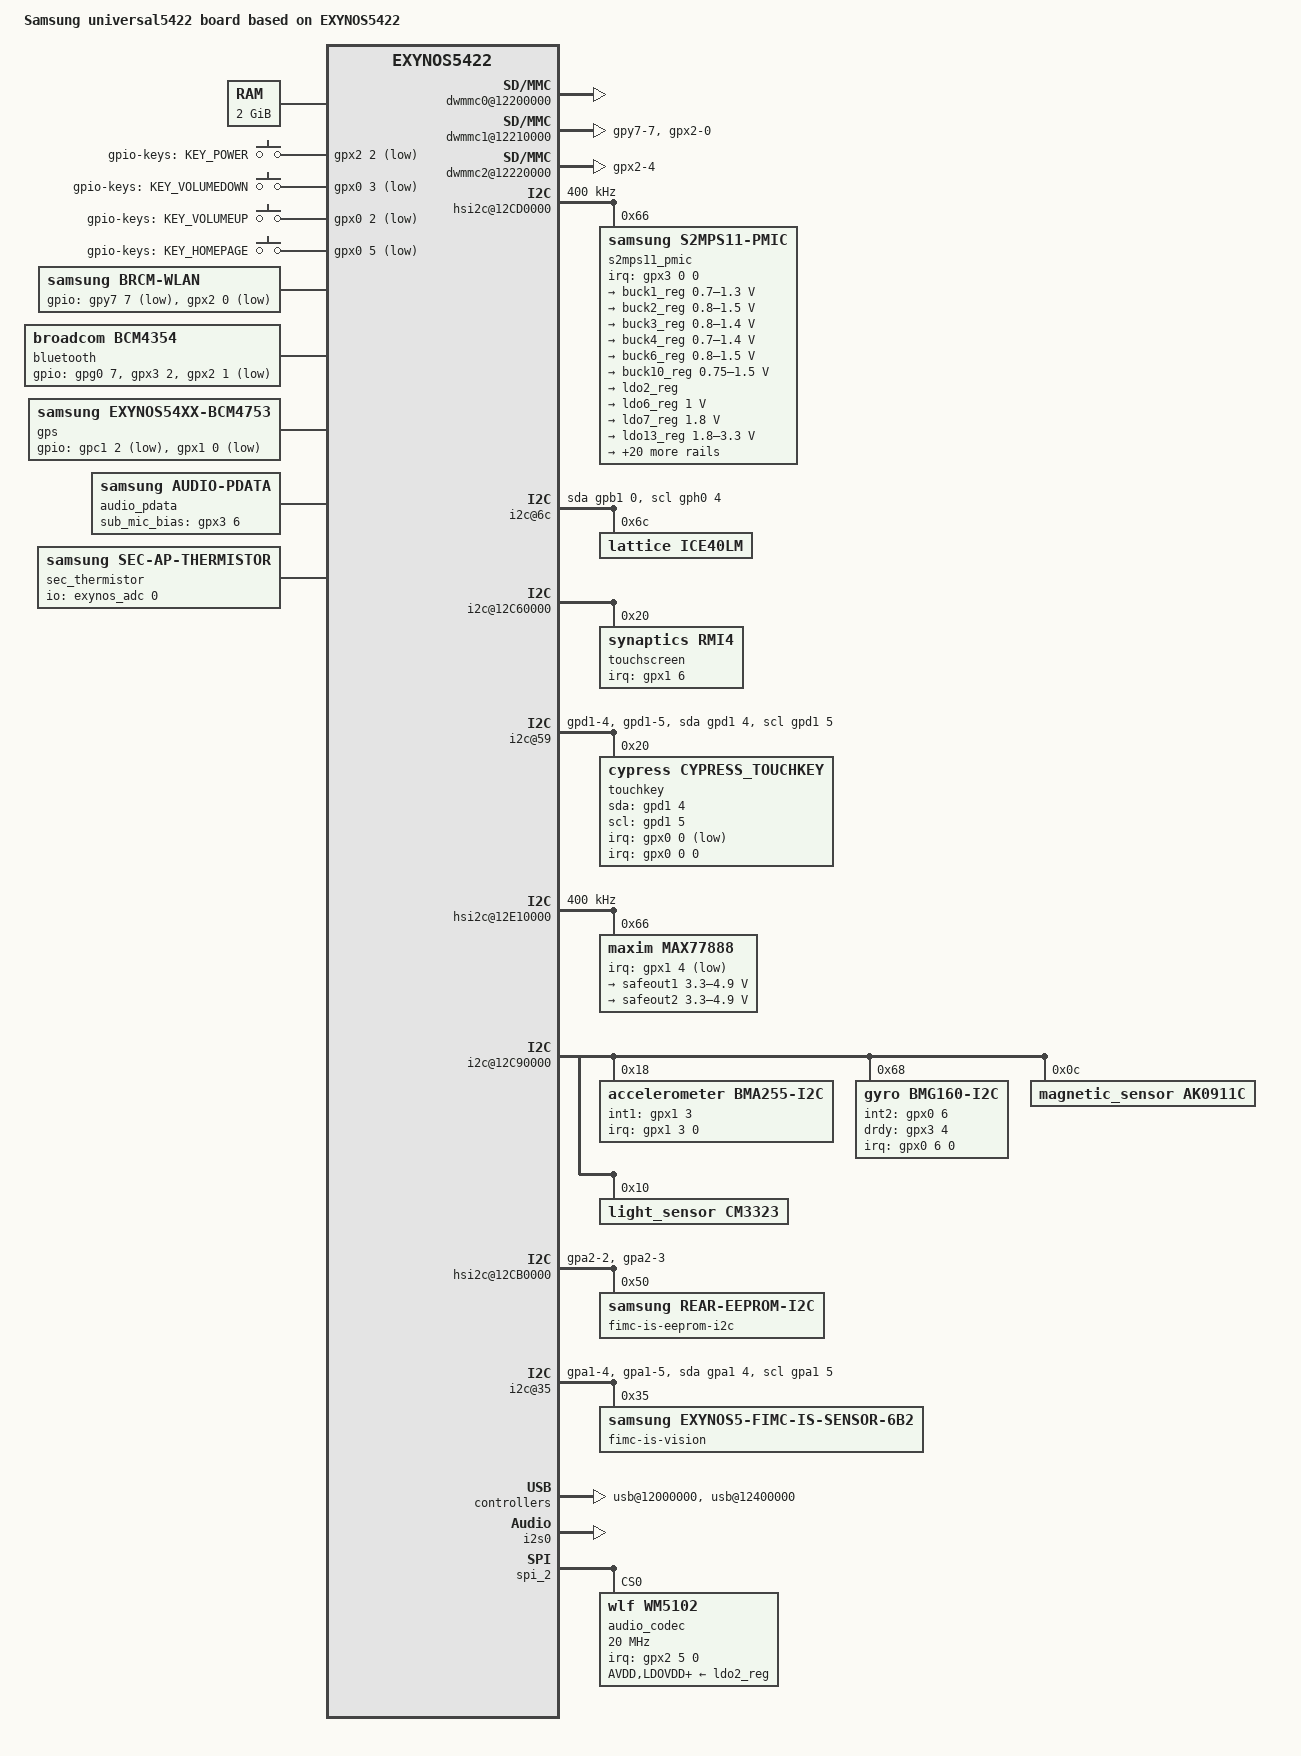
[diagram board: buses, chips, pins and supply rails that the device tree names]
/*
 * SAMSUNG universal5422 board device tree source
 *
 * Copyright (c) 2013 Samsung Electronics Co., Ltd.
 *             http://www.samsung.com
 *
 * This program is free software; you can redistribute it and/or modify
 * it under the terms of the GNU General Public License version 2 as
 * published by the Free Software Foundation.
*/

#include "exynos5422_evt0.dtsi"
#include "exynos5422-k_mhl2x.dtsi"
#include "exynos5422-klimtve_gpio.dtsi"

/ {
	model = "Samsung universal5422 board based on EXYNOS5422";
	compatible = "samsung,universal5422", "samsung,exynos5422";

	memory {
		reg = <0x40000000 0x80000000>;
	};

	chosen {
		bootargs = "console=ttySAC2,115200 vmalloc=512M clk_ignore_unused";
	};

	fixed-rate-clocks {
		oscclk {
			compatible = "samsung,exynos5422-oscclk";
			clock-frequency = <24000000>;
		};
	};

	rtc {
		status = "okay";
	};

/*
	======================================
	MMC
	======================================
*/
	dwmmc0@12200000 {
		status = "okay";
		num-slots = <1>;
		broken-cd;
		bypass-smu;
		fixed_volt;
		clock-gate;
		enable-cclk-on-suspend;
		only_once_tune;
		extra_tuning;
		supports-highspeed;
		supports-hs200-1-8v-mode;
		supports-ddr200-1-8v-mode;
		error-retry;
		enable-cache-control;
		supports-poweroff-notification;
		use-fine-tuning;
		supports-ddr200-enhanced-strobe;
		sw_data_timeout;
		fifo-depth = <0x40>;
		card-detect-delay = <200>;
		qos_int_level = <222000>;
		samsung,dw-mshc-ciu-div = <3>;
		samsung,dw-mshc-sdr-timing = <3 0 4 0>;
		samsung,dw-mshc-ddr-timing = <3 0 2 0>;
		samsung,dw-mshc-hs200-timing = <3 0 2 0>;
		samsung,dw-mshc-ddr200-timing = <1 1 2 0>;
		clk_pin = "gpc0-0";
		clk_addr = "13410000.pinctrl";
		clk_val = <0x3>;
		clk_str_num = <4>;
		num-ref-clks = <8>;
		ciu_clkin = <20812500 41625000 41625000 83250000 166500000 83250000 166500000 333000000>;
		pinctrl-names = "default";
		pinctrl-0 = <&sd0_clk &sd0_cmd &sd0_rdqs &sd0_bus1 &sd0_bus4 &sd0_bus8>;

		slot@0 {
			reg = <0>;
			bus-width = <8>;
		};
	};

	dwmmc1@12210000 {
		status = "okay";
		num-slots = <1>;
		channel = <1>;
		bypass-smu;
		clock-gate;
		caps-control;
		use-fine-tuning;
		ignore-phase = <(1 << 7)>;
		sw-timeout = <1000>;
		enable-cclk-on-suspend;
		fixed_volt;
		supports-highspeed;
		sw_data_timeout;
		supports-sdr104-mode;
		keep-power-in-suspend;
		pm-ignore-notify;
		cd-type-external;
		cd-type = <2>;
		use-broken-voltage;
		fifo-depth = <0x40>;
		card-detect-delay = <200>;
		qos_int_level = <222000>;
		samsung,dw-mshc-ciu-div = <3>;
		samsung,dw-mshc-sdr-timing = <3 0 2 0>;
		samsung,dw-mshc-ddr-timing = <3 0 2 0>;
		clk_pin = "gpc1-0";
		clk_addr = "13410000.pinctrl";
		clk_val = <0x3>;
		clk_str_num = <4>;
		num-ref-clks = <8>;
		ciu_clkin = <25000000 50000000 50000000 100000000 200000000 100000000 200000000 400000000>;
		tp_mon_depth = <3>;
			     /* Byte/s,	 MIF clk, CPU clk, KFC clk*/
		tp_mon_table = <18000000 825000	2000000 1500000
				12000000 413000	0	0
				0	 0	0	0>;
		pinctrl-names = "default";
		//pinctrl-0 = <&sd1_clk &sd1_cmd &sd1_bus1 &sd1_bus4>;
		pinctrl-0 = <&sd1_clk &sd1_cmd &sd1_bus1 &sd1_bus4 &cfg_wlanen &cfg_wlanhostwake>; /* Set WLAN_EN configuration of power down mode */

		slot@0 {
			reg = <0>;
			bus-width = <4>;
		};
	};

	dwmmc2@12220000 {
		status = "okay";
		num-slots = <1>;
		supports-highspeed;
		clock-gate;
		enable-cclk-on-suspend;
		sw_data_timeout;
                use-cpu-mode-tuning;
		use-fine-tuning;
		ignore-phase = <(1 << 7)>;
		fifo-depth = <0x40>;
		card-detect-delay = <200>;
		qos_int_level = <222000>;
		samsung,dw-mshc-ciu-div = <3>;
		samsung,dw-mshc-sdr-timing = <3 0 4 0>;
		samsung,dw-mshc-ddr-timing = <3 0 2 0>;
		clk_pin = "gpc2-0";
		clk_addr = "13410000.pinctrl";
		clk_val = <0x1>;
		clk_str_num = <4>;
		num-ref-clks = <8>;
		ciu_clkin = <20812500 41625000 41625000 83250000 166500000 83250000 166500000 333000000>;
		pinctrl-names = "default", "output";
		pinctrl-0 = <&sd2_clk &sd2_cmd &sd2_bus1 &sd2_bus4 &dwmmc2_cd_irq>;
		pinctrl-1 = <&sd2_clk_output &sd2_cmd_output &sd2_bus1 &sd2_bus4 &dwmmc2_cd_irq>;

		gpio-controller;
		#gpio-cells = <2>;
		cd-gpio = <&gpx2 4 0xf>;

		slot@0 {
			reg = <0>;
			bus-width = <4>;
			disable-wp;
		};
	};

	dwmmc2@12220000 {
		vmmc-en-gpio = <&gpy2 0 0x1>;	/* TF_EN -> LDO19 */
		vqmmc-en-gpio = <&gpy3 1 0x1>;	/* MMC2_EN -> LDO13 */
	};

/*
	samsung,pins = "gpa0-0";

	samsung,pin-function = <2>;
	0 : input, 1 : output 2 : special_function

	samsung,pin-pud = <0>;
	0 : reserved 1 : pull down 2 : reserved 3 : pull up

	samsung,pin-con-pdn = <2>;
	0 : output0 1 : output1 2: input 3: previous state

	samsung,pin-pud-pdn = <0>;
	0 : pull up/down disable 1 : pull down 2 : reserved 3 : pull up
*/

/*
	======================================
	UART
	======================================
	UART0 : BT
	UART1 : GPS
	UART2 : Serial
*/
	pinctrl@14010000 {
		uart0_rts: uart0-rts {
			samsung,pins = "gpa0-3";
			samsung,pin-function = <2>;
			samsung,pin-pud = <3>;
			samsung,pin-con-pdn = <1>;
			samsung,pin-pud-pdn = <3>;
		};

		uart0_cts: uart0-cts {
			samsung,pins = "gpa0-2";
			samsung,pin-function = <2>;
			samsung,pin-pud = <3>;
			samsung,pin-con-pdn = <2>;
			samsung,pin-pud-pdn = <3>;
		};

		uart0_tx: uart0-tx {
			samsung,pins = "gpa0-1";
			samsung,pin-function = <2>;
			samsung,pin-pud = <3>;
			samsung,pin-con-pdn = <1>;
			samsung,pin-pud-pdn = <3>;
		};

		uart0_rx: uart0-rx {
			samsung,pins = "gpa0-0";
			samsung,pin-function = <2>;
			samsung,pin-pud = <3>;
			samsung,pin-con-pdn = <2>;
			samsung,pin-pud-pdn = <3>;
		};
	};

	serial@12C00000 {
		pinctrl-0 = <&uart0_rts &uart0_cts &uart0_tx &uart0_rx>;
	};

	pinctrl@14010000 {
		uart1_rts: uart1-rts {
			samsung,pins = "gpa0-7";
			samsung,pin-function = <2>;
			samsung,pin-pud = <0>;
			samsung,pin-con-pdn = <1>;
			samsung,pin-pud-pdn = <0>;
		};

		uart1_cts: uart1-cts {
			samsung,pins = "gpa0-6";
			samsung,pin-function = <2>;
			samsung,pin-pud = <0>;
			samsung,pin-con-pdn = <2>;
			samsung,pin-pud-pdn = <1>;
		};

		uart1_tx: uart1-tx {
			samsung,pins = "gpa0-5";
			samsung,pin-function = <2>;
			samsung,pin-pud = <0>;
			samsung,pin-con-pdn = <2>;
			samsung,pin-pud-pdn = <3>;
		};

		uart1_rx: uart1-rx {
			samsung,pins = "gpa0-4";
			samsung,pin-function = <2>;
			samsung,pin-pud = <3>;
			samsung,pin-con-pdn = <2>;
			samsung,pin-pud-pdn = <3>;
		};

		nfc_cfg: nfc-cfg {
	            samsung,pins = "gph0-6";
	            samsung,pin-function = <2>;
		};
	};

	serial@12C10000 {
		pinctrl-0 = <&uart1_rts &uart1_cts &uart1_tx &uart1_rx>;
	};

/*
	======================================
	EINT GPIOs
	======================================
	GPX0-0 : TOUCH_INT
	GPX0-1 : HALL_SENSOR_INT
	GPX0-2 : VOL_UP
	GPX0-3 : VOL_DOWN
	GPX0-4 : GRIP_DET_AP
	GPX0-5 : HOME_BTN
	GPX0-6 : ACC_INT2
	GPX0-7 : BTP_IRQ

	GPX1-0 : GPS_INT
	GPX1-1 : IF_CON_SENSE_18
	GPX1-2 : NC
	GPX1-3 : ACC_INT1
	GPX1-4 : IF_PMIC_IRQ
	GPX1-5 : FUEL_ALERT
	GPX1-6 : TSP_ATTN
	GPX1-7 : MUIC_RST_INT

	GPX2-0 : WLAN_HOST_WAKE
	GPX2-1 : BT_HOST_WAKE
	GPX2-2 : nPower
	GPX2-3 : COND_DET_AP
	GPX2-4 : T-FLASH_DET
	GPX2-5 : CODEC_IRQ
	GPX2-6 : NC
	GPX2-7 : NC

	GPX3-0 : AP_PMIC_IRQ
	GPX3-1 : NC
	GPX3-2 : BT_WAKE
	GPX3-3 : NC
	GPX3-4 : GYRO_DRDY
	GPX3-5 : PS_ALS_INT
	GPX3-6 : SUB_MICBIAS_EN
	GPX3-7 : HDMI_HPD
*/
	pinctrl@13400000 {
		pmic_irq: pmic-irq {
			samsung,pins = "gpx3-0";
			samsung,pin-pud = <3>;
			samsung,pin-drv = <3>;
		};

		hall_irq: hall-irq {
			samsung,pins = "gpx0-1";
			samsung,pin-function = <0xf>;
			samsung,pin-pud = <3>;
			samsung,pin-drv = <0>;
		};
		acc_irq2: acc-irq2 {
			samsung,pins = "gpx0-6";
			samsung,pin-function = <0>;
			samsung,pin-pud = <0>;
			samsung,pin-drv = <0>;
		};
		mfd_irq: mfd-irq {
			samsung,pins = "gpx1-4";
			samsung,pin-function = <0>;
			samsung,pin-pud = <0>;
			samsung,pin-drv = <0>;
		};

		if_con_sense_irq: if_con_sense_irq {
			samsung,pins = "gpx1-1";
			samsung,pin-function = <0>;
			samsung,pin-pud = <0>;
			samsung,pin-drv = <0>;
		};
		acc_irq1: acc-irq1 {
			samsung,pins = "gpx1-3";
			samsung,pin-function = <0xf>;
			samsung,pin-pud = <0>;
			samsung,pin-drv = <0>;
		};
		muic_reset_irq: muic_reset_irq {
			samsung,pins = "gpx1-7";
			samsung,pin-function = <0>;
			samsung,pin-pud = <0>;
			samsung,pin-drv = <0>;
		};

		fuel_irq: fuel-irq {
			samsung,pins = "gpx1-5";
			samsung,pin-function = <0>;
			samsung,pin-pud = <0>;
			samsung,pin-drv = <0>;
		};

		dwmmc2_cd_irq: dwmmc2-cd-irq {
			samsung,pins = "gpx2-4";
			samsung,pin-function = <0xf>;
			samsung,pin-pud = <3>;
			samsung,pin-drv = <3>;
		};

		gyro_drdy: gyro-drdy {
			samsung,pins = "gpx3-4";
			samsung,pin-function = <0>;
			samsung,pin-pud = <0>;
			samsung,pin-drv = <0>;
		};
	};

/*
	======================================
	PMIC
	======================================
*/
	pinctrl@13410000 {
		pm_wrsti: pm-wrsti {
			samsung,pins = "gpy3-0";
			samsung,pin-con-pdn = <3>;
		};
	};

	hsi2c@12CD0000 {
		clock-frequency = <400000>;
		status = "okay";

		s2mps11_pmic@66 {
			compatible = "samsung,s2mps11-pmic";
			reg = <0x66>;
			interrupts = <0 0 0>;
			interrupt-parent = <&gpx3>;
			pinctrl-names = "default";
			pinctrl-0 = <&pmic_irq &pm_wrsti>;
			/* RTC: wtsr/smpl */
			wtsr_en = <1>; /* enable */
			smpl_en = <1>; /* enable */
			wtsr_timer_val = <3>;	/* 1000ms */
			smpl_timer_val = <0>;	/* 500ms */
			check_jigon = <1>; /* check jigon */
			/* RTC: If it's first boot, reset rtc to 1/1/2014 12:00:00(Wed) */
			init_time,sec = <0>;
			init_time,min = <0>;
			init_time,hour = <12>;
			init_time,mday = <1>;
			init_time,mon = <0>;
			init_time,year = <114>;
			init_time,wday = <3>;

			regulators {
				buck1_reg: BUCK1 {
					regulator-name = "vdd_mif";
					regulator-min-microvolt = <700000>;
					regulator-max-microvolt = <1300000>;
					regulator-always-on;
					regulator-boot-on;
					regulator-ramp-delay = <12000>;
					regulator-initial-mode = <1>;
				};

				buck2_reg: BUCK2 {
					regulator-name = "vdd_eagle";
					regulator-min-microvolt = <800000>;
					regulator-max-microvolt = <1500000>;
					regulator-always-on;
					regulator-boot-on;
					regulator-ramp-delay = <12000>;
					regulator-initial-mode = <1>;
				};

				buck3_reg: BUCK3 {
					regulator-name = "vdd_int";
					regulator-min-microvolt = <800000>;
					regulator-max-microvolt = <1400000>;
					regulator-always-on;
					regulator-boot-on;
					regulator-ramp-delay = <12000>;
					regulator-initial-mode = <1>;
				};

				buck4_reg: BUCK4 {
					regulator-name = "vdd_g3d";
					regulator-min-microvolt = <700000>;
					regulator-max-microvolt = <1400000>;
					regulator-always-on;
					regulator-boot-on;
					regulator-ramp-delay = <12000>;
					regulator-initial-mode = <1>;
				};

				buck6_reg: BUCK6 {
					regulator-name = "vdd_kfc";
					regulator-min-microvolt = <800000>;
					regulator-max-microvolt = <1500000>;
					regulator-always-on;
					regulator-boot-on;
					regulator-ramp-delay = <12000>;
					regulator-initial-mode = <1>;
				};

				buck10_reg: BUCK10 {
					regulator-name = "vdd_cam_isp_1.0v";
					regulator-min-microvolt = <750000>;
					regulator-max-microvolt = <1500000>;
					regulator-always-on;
					regulator-boot-on;
					regulator-ramp-delay = <12000>;
					regulator-initial-mode = <1>;
				};

				ldo2_reg: LDO2 {
					regulator-name = "vcc_1.8v_codec";
				};

				ldo6_reg: LDO6 {
					regulator-name = "vdd_ldo6";
					regulator-min-microvolt = <1000000>;
					regulator-max-microvolt = <1000000>;
					regulator-always-on;
					regulator-initial-mode = <1>;
				};

				ldo7_reg: LDO7 {
					regulator-name = "vdd_ldo7";
					regulator-min-microvolt = <1800000>;
					regulator-max-microvolt = <1800000>;
					regulator-always-on;
					regulator-initial-mode = <1>;
				};

				ldo13_reg: LDO13 {
					regulator-name = "vqmmc";
					regulator-min-microvolt = <1800000>;
					regulator-max-microvolt = <3300000>;
					regulator-boot-on;
					regulator-ramp-delay = <12000>;
					regulator-initial-mode = <1>;
				};

				ldo14_reg: LDO14 {
					regulator-name = "vcc_3.0v_motor";
					regulator-min-microvolt = <3000000>;
					regulator-max-microvolt = <3000000>;
					regulator-initial-mode = <3>;
				};

				ldo17_reg: LDO17 {
					regulator-name = "vci_ldo17";
					regulator-min-microvolt = <3000000>;
					regulator-max-microvolt = <3000000>;
					regulator-initial-mode = <3>;
				};

				ldo19_reg: LDO19 {
					regulator-name = "vmmc";
					regulator-min-microvolt = <1800000>;
					regulator-max-microvolt = <2850000>;
					regulator-boot-on;
					regulator-initial-mode = <1>;
				};

				ldo20_reg: LDO20 {
					regulator-name = "VT_CAM_1.8V";
					regulator-min-microvolt = <1800000>;
					regulator-max-microvolt = <1800000>;
				};

				ldo21_reg: LDO21 {
					regulator-name = "CAM_IO_1.8V_AP";
					regulator-min-microvolt = <1800000>;
					regulator-max-microvolt = <1800000>;
				};

				ldo22_reg: LDO22 {
					regulator-name = "CAM_SEN_CORE_1.2V_AP";
					regulator-min-microvolt = <1100000>;
					regulator-max-microvolt = <1100000>;
				};

				ldo23_reg: LDO23 {
					regulator-name = "vdd_mifs";
					regulator-min-microvolt = <800000>;
					regulator-max-microvolt = <1100000>;
					regulator-always-on;
					regulator-initial-mode = <1>;
					regulator-ramp-delay = <12000>;
				};

				ldo24_reg: LDO24 {
					regulator-name = "tsp_avdd";
					regulator-min-microvolt = <3300000>;
					regulator-max-microvolt = <3300000>;
				};

				ldo25_reg: LDO25 {
					regulator-name = "vdd_ldo25";
					regulator-min-microvolt = <1800000>;
					regulator-max-microvolt = <1800000>;
					regulator-boot-on;
					regulator-initial-mode = <3>;
				};

				ldo26_reg: LDO26 {
					regulator-name = "CAM_AF_2.8V_AP";
					regulator-min-microvolt = <2800000>;
					regulator-max-microvolt = <2800000>;
				};

				ldo27_reg: LDO27 {
					regulator-name = "vdd_g3ds";
					regulator-min-microvolt = <800000>;
					regulator-max-microvolt = <1100000>;
					regulator-always-on;
					regulator-initial-mode = <1>;
					regulator-ramp-delay = <12000>;
				};

				ldo28_reg: LDO28 {
					regulator-name = "vdd3_ldo28";
					regulator-min-microvolt = <1800000>;
					regulator-max-microvolt = <1800000>;
					regulator-boot-on;
					regulator-initial-mode = <3>;
				};

				ldo29_reg: LDO29 {
					regulator-name = "vddr_ldo29";
					regulator-min-microvolt = <1600000>;
					regulator-max-microvolt = <1600000>;
				};

				ldo30_reg: LDO30 {
					regulator-name = "vtouch_1.8v";
					regulator-min-microvolt = <1800000>;
					regulator-max-microvolt = <1800000>;
				};

				ldo31_reg: LDO31 {
					regulator-name = "vdd_ldo30";
					regulator-min-microvolt = <1800000>;
					regulator-max-microvolt = <1800000>;
				};

				ldo32_reg: LDO32 {
					regulator-name = "tsp_io";
					regulator-min-microvolt = <1800000>;
					regulator-max-microvolt = <1800000>;
				};

				ldo33_reg: LDO33 {
					regulator-name = "VCC_1.8V_MHL";
					regulator-min-microvolt = <1800000>;
					regulator-max-microvolt = <1800000>;
				};

				ldo34_reg: LDO34 {
					regulator-name = "VCC_3.3V_MHL";
					regulator-min-microvolt = <3300000>;
					regulator-max-microvolt = <3300000>;
				};

				ldo35_reg: LDO35 {
					regulator-name = "VSIL_1.2A";
					regulator-min-microvolt = <1200000>;
					regulator-max-microvolt = <1200000>;
				};

				ldo38_reg: LDO38 {
					regulator-name = "vtouch_3.3v";
					regulator-min-microvolt = <3300000>;
					regulator-max-microvolt = <3300000>;
				};
			};
		};
	};

/*
	======================================
	IRDA
	======================================
*/
	pinctrl@13400000 {
		irda_irq: irda-irq {
			samsung,pins = "gpy7-1";
			samsung,pin-function = <0>;
			samsung,pin-pud = <0>;
			samsung,pin-drv = <0>;
		};
	};

	i2c@6c {
		compatible = "i2c-gpio";
		gpios = <&gpb1 0 0 /* sda */
			&gph0 4 0 /* scl */
			>;
		i2c-gpio,delay-us = <2>;
		#address-cells = <1>;
		#size-cells = <0>;
		status = "okay";
		ice40lm@6c {
			compatible = "lattice,ice40lm";
			reg = <0x6c>;
			ice40lm,creset_b = <&gpj4 2 0>;
			ice40lm,cdone = <&gpg0 2 0>;
			ice40lm,irda_irq = <&gpy7 1 0>;
			ice40lm,spi_si_sda = <&gpb1 0 0>;
			ice40lm,spi_clk_scl = <&gph0 4 0>;
			ice40lm,spi_en_rstn = <&gph0 6 0>;
			ice40lm,power = "LDO";
			ice40lm,ir_en = <&gph0 6 0>;
			clocks = <&clock 4200>;
			clock-names = "clk_out";
		};
	};

/*
	======================================
	Touch & Touch key
	======================================
*/
	pinctrl@13400000 {
		attn_irq: attn-irq {
			samsung,pins = "gpx1-6";
			samsung,pin-function = <0xf>;
			samsung,pin-pud = <0>;
			samsung,pin-drv = <0>;
		};

		attn_input: attn-input {
			samsung,pins = "gpx1-6";
			samsung,pin-function = <0>;
			samsung,pin-pud = <0>;
			samsung,pin-drv = <0>;
		};
	};

	pinctrl@14000000 {
		tsp_rst: tsp_rst {
			samsung,pins = "gpg1-1";
			samsung,pin-function = <1>;
			samsung,pin-pud = <0>;
			samsung,pin-drv = <0>;
		};
	};

	pinctrl@14010000 {
		i2c0_bus: i2c0-bus {
			samsung,pins = "gpb3-1", "gpb3-0";
			samsung,pin-function = <2>;
			samsung,pin-pud = <0>;
			samsung,pin-drv = <0>;
		};
	};

	i2c@12C60000 {
		samsung,i2c-sda-delay = <100>;
		samsung,i2c-max-bus-freq = <400000>;
		status = "okay";
		touchscreen@20 {
			compatible = "synaptics,rmi4";
			reg = <0x20>;
			pinctrl-names = "on_state", "off_state";
			pinctrl-0 = <&attn_irq &tsp_rst>;
			pinctrl-1 = <&attn_input &tsp_rst>;
			synaptics,irq_gpio = <&gpx1 6 0>;
			synaptics,tsp_rst = <&gpg1 1 0>;
			synaptics,irq_type = <8200>;
			synaptics,max_coords = <1599 2559>;	/* x y */
			synaptics,num_lines = <45 28>;		/* rx tx */
			synaptics,regulator_dvdd = "tsp_io";	/* 1.8v */
			synaptics,regulator_avdd = "tsp_avdd";	/* 3.3v */
			synaptics,project_name = "KLIMT VE","T703";
			synaptics,panel_revision = <1>;
			synaptics,firmware_name = "tsp_synaptics/synaptics_s5707_klimtve.fw";
		};
	};

	pinctrl@13410000 {
		/* touchkey s/w i2c */
		cfg_i2c: cfg-i2c {
			samsung,pins = "gpd1-4", "gpd1-5";
			samsung,pin-pud = <0>;
			samsung,pin-drv = <0>;
		};
		cfg_gpio: cfg_gpio {
			samsung,pins = "gpd1-4", "gpd1-5";
			samsung,pin-con-pdn = <2>;
			samsung,pin-pud-pdn = <1>;
		};
	};

	pinctrl@13400000 {
		/* touchkey interrupt*/
		cfg_irq: cfg-irq {
			samsung,pins = "gpx0-0";
			samsung,pin-function = <0xf>;
			samsung,pin-pud = <3>;
			samsung,pin-drv = <0>;
		};
		cfg_input: cfg-input {
			samsung,pins = "gpx0-0";
			samsung,pin-function = <0>;
			samsung,pin-pud = <1>;
			samsung,pin-drv = <0>;
		};
	};

	i2c@59 {
		cell-index = <59>;
		compatible = "i2c-gpio";
		gpios = <&gpd1 4 0 /* sda */
					&gpd1 5 0 /* scl */
					>;
		i2c-gpio,delay-us = <2>;
		pinctrl-names = "default","on_i2c","off_i2c";
		pinctrl-0 = <&cfg_i2c>;
		pinctrl-1 = <&cfg_i2c>;
		pinctrl-2 = <&cfg_gpio>;
		#address-cells = <1>;
		#size-cells = <0>;
		touchkey@20 {
			pinctrl-names = "on_irq","off_irq";
			pinctrl-0 = <&cfg_irq>;
			pinctrl-1 = <&cfg_input>;
			compatible = "cypress,cypress_touchkey";
			reg = <0x20>;
			interrupts = <0 0 0>;
			interrupt-parent = <&gpx0>;
			cypress,sda-gpio = <&gpd1 4 0>;
			cypress,scl-gpio = <&gpd1 5 0>;
			cypress,irq-gpio = <&gpx0 0 1>;
			cypress,ic_type = <20055>;
			cypress,fw_path = "cypress/cypress_klimt.fw";
			cypress,boot_on_ldo;
			cypress,led_by_ldo;
			cypress,glove_mode_keep_status;
			cypress,fw_crc_check = <0>;
		};
	};

	input_booster {
		status = "okay";
		compatible = "input_booster";
		#address-cells = <1>;
		#size-cells = <0>;

		booster_key@1 {
			input_booster,label = "TOUCH";
			input_booster,type = <0>;	/* BOOSTER_DEVICE_TOUCH */

			input_booster,levels = <1 2 3 4 5 9 10>;

			/* Frequency table */
			/* for level	:		1_Head, 2_Tail, 3_Head, 4_Head/Tail, 5_Head, 9_Head, 9_Tail */
			input_booster,cpu_freqs = <1600000 0 0 0 1200000 1900000 1600000>;
			input_booster,hmp_boost = <1 0 0 0 1 1 1>;
			input_booster,kfc_freqs = <1000000 1200000 1300000 1300000 800000 1300000 1300000>;
			input_booster,mif_freqs = <633000 413000 413000 633000 633000 825000 825000>;
			input_booster,int_freqs = <333000 110000 111000 111000 333000 400000 400000>;

			/* Time table */
			input_booster,head_times = <130 130 130 130 100 500 0>;
			input_booster,tail_times = <500 500 500 200 500 1000 0>;
			input_booster,phase_times = <0 0 0 0 40 0 0>;
		};
		/* If you need to add new key type, add it this position */
	};

	pinctrl@14010000 {
		i2c3_bus: i2c3-bus {
			samsung,pin-pud = <0>;
		};

		vibetonz_pwm: vibetonz_pwm {
			samsung,pins = "gpb2-1";
			samsung,pin-function = <2>;
			samsung,pin-pud = <0>;
			samsung,pin-drv = <0>;
		};

		hs_i2c3_bus: hs-i2c3-bus {	/* AP PMIC I2C */
				samsung,pins = "gpb2-3", "gpb2-2";
				samsung,pin-function = <3>;
				samsung,pin-pud = <0>;
				samsung,pin-drv = <0>;
		};

		hs_i2c5_bus: hs-i2c5-bus {	/* IF PMIC I2C */
			samsung,pins = "gpb3-7", "gpb3-6";
			samsung,pin-function = <2>;
			samsung,pin-pud = <0>;
			samsung,pin-drv = <0>;
		};
	};
/*
	======================================
	IF PMIC
	======================================
*/
	hsi2c@12E10000 {
		samsung,hs-mode;
		clock-frequency = <400000>;
		status = "okay";

		max77888@66 {
                        compatible = "maxim,max77888";
                        reg = <0x66>;
                        pinctrl-names = "default";
                        pinctrl-0 = <&mfd_irq &if_con_sense_irq &fuel_irq &vibetonz_pwm &muic_reset_irq>;
                        max77888,irq-gpio = <&gpx1 4 1>;
                        max77888,muic-reset-int = <&gpx1 7 1>;
                        max77888,irqf-trigger = <0x00002008>; /* IRQF_ONESHOT | IRQF_TRIGGER_LOW */
                        max77888,wakeup;
                        status = "okay";

                        regulators {
                                safeout1: ESAFEOUT1 {
                                        regulator-compatible = "safeout1";
                                        regulator-name = "safeout1_range";
                                        regulator-min-microvolt = <3300000>;
                                        regulator-max-microvolt = <4900000>;
                                        regulator-boot-on;
                                };

                                safeout2: ESAFEOUT2 {
                                        regulator-compatible = "safeout2";
                                        regulator-name = "safeout2_range";
                                        regulator-min-microvolt = <3300000>;
                                        regulator-max-microvolt = <4900000>;
                                };
                        };
                };
	};

	muic {
                status = "disabled";
                muic,rustproof_inbattery;
                muic,support-list = "MHL","OTG","Charging Cable","Jig USB On","Jig UART Off",
                                    "Jig UART Off + VB","Jig UART On",
                                    "TA","USB","CDP","Undefined Charging",
                                    "Unofficial ID","Unofficial ID + TA","Unofficial ID + ANY TA",
                                    "Unofficial ID + USB","Unofficial ID + CDP",
                                    "Deskdock","Deskdock + VB",
                                    "USB LANHUB";
                muic,afcmode-tx = /bits/ 8 <0x46>;
        };

/*
	======================================
	Sensor
	======================================
*/
	i2c@12C90000 {
		samsung,i2c-sda-delay = <100>;
		samsung,i2c-max-bus-freq = <400000>;
		#address-cells = <1>;
		#size-cells = <0>;
		status = "okay";

		accelerometer@18 {
			compatible = "accelerometer,bma255-i2c";
			reg = <0x18>;
			interrupt-parent = <&gpx1>;
			interrupts = <3 0 0>;
			pinctrl-names = "default";
			pinctrl-0 = <&acc_irq1>;
			accelerometer,int1_gpio= <&gpx1 3 0>;
			accelerometer,chip_pos = <4>;
			accelerometer,range = <5>;
		};
		gyro@68 {
			compatible = "gyro,bmg160-i2c";
			reg = <0x68>;
			pinctrl-names = "default";
			pinctrl-0 = <&acc_irq2 &gyro_drdy>;
			interrupt-parent = <&gpx0>;
			interrupts = <6 0 0>;
			gyro,int2_gpio=<&gpx0 6 0>;
			gyro,drdy-gpio= <&gpx3 4 0>;
			gyro,chip_pos = <4>;
			gyro,dps = <0>;
		};
		magnetic_sensor@0c {
			compatible = "magnetic_sensor,ak0911c";
			reg = <0x0c>;
			pinctrl-names = "default";
			pinctrl-0 = <&magnetic_rst>;
			magnetic_sensor,m_rst_n = <&gpg2 0 0>;
			magnetic_sensor,chip_pos = <4>;
		};
		light_sensor@10 {
			compatible = "light_sensor,cm3323";
			reg = <0x10>;
		};
	};
/*
	======================================
	Camera
	======================================
*/
	spi_0: spi@12d20000 {
		status = "disabled";
	};

	spi_3: spi@131a0000 {
		status = "disabled";
	};

	spi_4: spi@131b0000 {
		status = "disabled";
	};

	hsi2c@12CB0000 {
		status = "okay";
		pinctrl-names ="default";
		pinctrl-0 = <&fimc_is_eeprom_i2c>;
		fimc-is-eeprom-i2c@50 {
			compatible = "samsung,rear-eeprom-i2c";
			reg = <0x50>;
		};
	};

	/* vision */
	i2c@35{
		compatible = "i2c-gpio";
		gpios = <&gpa1 4 0 /* sda */
			&gpa1 5 0 /* scl */
			>;
		i2c-gpio,delay-us = <2>;
		pinctrl-names = "default";
		pinctrl-0 = <&fimc_is_vision>;
		#address-cells = <1>;
		#size-cells = <0>;
		status = "okay";
		fimc-is-vision@35 {
			compatible = "samsung,exynos5-fimc-is-sensor-6b2";
			reg = <0x35>;
		};
	};

	/* Companion driver */
	fimc_is_companion: fimc_is_companion@13180000 {
		status = "disabled";
	};

	/* CAMIF0 - MIPI-CSIS0, FIMC-Lite0 driver */
	fimc_is_sensor0: fimc_is_sensor@13C00000 {
		scenario = <0>;

		pinctrl-names ="default", "ch0", "af0", "off0";
		pinctrl-0 = <&fimc_is_ch0_mclk_off>;
		pinctrl-1 = <&fimc_is_ch0_i2c &fimc_is_ch0_mclk>;
		pinctrl-2 = <&fimc_is_ch0_i2c &fimc_is_ch0_mclk &fimc_is_ch1_i2c>;
		pinctrl-3 = <&fimc_is_ch0_mclk_off>;

		scenario = <0>;
		gpio_reset = <&gpe0 5 0x1>;
		gpios_cam_en = <&gpe1 0 0x1>;
		id = <0>;
		mclk_ch = <0>;
		csi_ch = <0>;
		flite_ch = <0>;
		i2c_ch = <0x010100>;
		i2c_addr = <0x483434>;
		flash_first_gpio = <0>;
		flash_second_gpio = <1>;
		sensor_name = "imx134";
		sensor_id = <102>;
		is_bns = <1>;
		status = "okay";
	};

	/* CAMIF1 - MIPI-CSIS1, FIMC-Lite1 driver */
	fimc_is_sensor1: fimc_is_sensor@13C10000 {
		pinctrl-names ="default", "ch1", "off1";
		pinctrl-0 = <&fimc_is_ch2_mclk_off>;
		pinctrl-1 = <&fimc_is_ch2_i2c &fimc_is_ch2_mclk>;
		pinctrl-2 = <&fimc_is_ch2_mclk_off &fimc_is_ch2_i2c_off>;

		scenario = <0>;
		gpio_reset = <&gpe0 4 0x1>;
		gpio_standby = <&gpe0 2 0x1>;
		gpios_cam_en = <&gpy7 0 0x1>;
		cam_1.2v_not_used;
		id = <1>;
		mclk_ch = <2>;
		csi_ch = <1>;
		flite_ch = <1>;
		i2c_ch = <0x2>;
		i2c_addr = <0x6A>;
		sensor_name = "6b2";
		sensor_id = <7>;
		is_bns = <0>;
		status = "okay";
	};

	/* FIMC-IS driver */
	fimc_is@13000000 {
		use_vision = <1>;
		fimc_is_dvfs {
			default_int = <600000>; /* L0 */
			default_cam = <666000>; /* L0 */
			default_mif = <825000>; /* L0 */
			default_i2c = <0>;

			front_preview_int = <440000>; /* L1-3 */
			front_preview_cam = <333000>; /* L3 */
			front_preview_mif = <413000>; /* L4 */
			front_preview_i2c = <0>;

			front_capture_int = <440000>; /* L1-3 */
			front_capture_cam = <333000>; /* L3 */
			front_capture_mif = <413000>; /* L4 */
			front_capture_i2c = <0>;

			front_camcording_int = <440000>; /* L1-3 */
			front_camcording_cam = <333000>; /* L3 */
			front_camcording_mif = <413000>; /* L4 */
			front_camcording_i2c = <0>;

			front_vt1_int = <440000>; /* L1-3 */
			front_vt1_cam = <333000>; /* L3 */
			front_vt1_mif = <413000>; /* L4 */
			front_vt1_i2c = <0>;

			front_vt2_int = <440000>; /* L1-3 */
			front_vt2_cam = <333000>; /* L3 */
			front_vt2_mif = <413000>; /* L4 */
			front_vt2_i2c = <0>;

			rear_preview_fhd_bns_off_int = <600000>; /* L0 */
			rear_preview_fhd_bns_off_cam = <444000>; /* L2 */
			rear_preview_fhd_bns_off_mif = <633000>; /* L2 */
			rear_preview_fhd_bns_off_i2c = <0>;

			rear_preview_fhd_int = <600000>; /* L0 */
			rear_preview_fhd_cam = <444000>; /* L2 */
			rear_preview_fhd_mif = <633000>; /* L2 */
			rear_preview_fhd_i2c = <0>;

			rear_preview_whd_int = <600000>; /* L0 */
			rear_preview_whd_cam = <444000>; /* L2 */
			rear_preview_whd_mif = <825000>; /* L0 */
			rear_preview_whd_i2c = <0>;

			rear_preview_uhd_int = <600000>; /* L0 */
			rear_preview_uhd_cam = <444000>; /* L2 */
			rear_preview_uhd_mif = <825000>; /* L0 */
			rear_preview_uhd_i2c = <0>;

			rear_capture_int = <600000>; /* L0 */
			rear_capture_cam = <666000>; /* L0 */
			rear_capture_mif = <825000>; /* L0 */
			rear_capture_i2c = <0>;

			rear_camcording_fhd_bns_off_int = <600000>; /* L0 */
			rear_camcording_fhd_bns_off_cam = <444000>; /* L2 */
			rear_camcording_fhd_bns_off_mif = <543000>; /* L3 */
			rear_camcording_fhd_bns_off_i2c = <0>;

			rear_camcording_fhd_int = <600000>; /* L0 */
			rear_camcording_fhd_cam = <444000>; /* L2 */
			rear_camcording_fhd_mif = <543000>; /* L3 */
			rear_camcording_fhd_i2c = <0>;

			rear_camcording_whd_int = <600000>; /* L0 */
			rear_camcording_whd_cam = <444000>; /* L2 */
			rear_camcording_whd_mif = <825000>; /* L0 */
			rear_camcording_whd_i2c = <0>;

			rear_camcording_uhd_int = <600000>; /* L0 */
			rear_camcording_uhd_cam = <444000>; /* L2 */
			rear_camcording_uhd_mif = <825000>; /* L0 */
			rear_camcording_uhd_i2c = <0>;

			dual_preview_int = <600000>; /* L0 */
			dual_preview_cam = <555000>; /* L1 */
			dual_preview_mif = <825000>; /* L0 */
			dual_preview_i2c = <0>;

			dual_capture_int = <600000>; /* L0 */
			dual_capture_cam = <666000>; /* L0 */
			dual_capture_mif = <825000>; /* L0 */
			dual_capture_i2c = <0>;

			dual_camcording_int = <600000>; /* L0 */
			dual_camcording_cam = <555000>; /* L1 */
			dual_camcording_mif = <825000>; /* L0 */
			dual_camcording_i2c = <0>;

			high_speed_fps_int = <600000>; /* L0 */
			high_speed_fps_cam = <111000>; /* L5 */
			high_speed_fps_mif = <825000>; /* L0 */
			high_speed_fps_i2c = <0>;

			dis_enable_int = <600000>; /* L0 */
			dis_enable_cam = <666000>; /* L0 */
			dis_enable_mif = <825000>; /* L0 */
			dis_enable_i2c = <0>;

			max_int = <600000>; /* L0 */
			max_cam = <666000>; /* L0 */
			max_mif = <825000>; /* L0 */
			max_i2c = <0>;
		};
	};

	pinctrl@13400000 {
		/* VT_CAM_ID */
		fimc_is_vt_cam_id: fimc_is_vt_cam_id {
			samsung,pins = "gpy7-2";
			samsung,pin-function = <0>;
			samsung,pin-pud = <0>;
			samsung,pin-drv = <0>;
		};
	};

	pinctrl@14000000 {
		fimc_is_flash: fimc-is-flash {
			samsung,pins = "gpe0-1", "gpe0-0";
			samsung,pin-function = <2>;
			samsung,pin-pud = <0>;
			samsung,pin-drv = <0>;
		};

		fimc_is_ch0_i2c: fimc-is-ch0_i2c {
			samsung,pins = "gpf0-1", "gpf0-0";
			samsung,pin-function = <2>;
			samsung,pin-pud = <0>;
			samsung,pin-drv = <3>;
		};
		fimc_is_ch1_i2c: fimc-is-ch1-i2c {
			samsung,pins = "gpf0-3", "gpf0-2";
			samsung,pin-function = <2>;
			samsung,pin-pud = <0>;
			samsung,pin-drv = <3>;
		};
		fimc_is_ch2_i2c: fimc-is-ch2-i2c {
			samsung,pins = "gpf0-5", "gpf0-4";
			samsung,pin-function = <2>;
			samsung,pin-pud = <0>;
			samsung,pin-drv = <6>;
		};
		fimc_is_ch2_i2c_off: fimc-is-ch2-i2c-off {
			samsung,pins = "gpf0-5", "gpf0-4";
			samsung,pin-function = <0>;
			samsung,pin-pud = <0>;
			samsung,pin-drv = <6>;
		};
	};

	pinctrl@14010000 {
		fimc_is_eeprom_i2c: fimc-is-eeprom-i2c {
			samsung,pins = "gpa2-2", "gpa2-3";
			samsung,pin-function = <3>;
			samsung,pin-pud = <0>;
			samsung,pin-drv = <3>;
		};
		fimc_is_ch0_mclk_off: fimc-is-ch0_mclk_off {
			samsung,pins = "gph0-5";
			samsung,pin-function = <0>;
			samsung,pin-pud = <1>;
			samsung,pin-drv = <0>;
		};
		fimc_is_ch2_mclk: fimc-is-ch2-mclk {
			samsung,pin-drv = <2>;
		};
		fimc_is_ch2_mclk_off: fimc-is-ch2_mclk_off {
			samsung,pins = "gph0-7";
			samsung,pin-function = <0>;
			samsung,pin-pud = <1>;
			samsung,pin-drv = <0>;
		};
		fimc_is_vision: fimc-is-vision {
			samsung,pins = "gpa1-4", "gpa1-5";
			samsung,pin-function = <0>;
			samsung,pin-pud = <1>;
			samsung,pin-drv = <0>;
		};
	};

	torch {
		status = "okay";
		leds1 {
			ledname = "leds-sec1";
		/* MAX77888_FLASH_LED_1 */
			id = <0>;
		/* MAX77888_FLASH_TIME_187P5MS */
			timer = <2>;
		/* MAX77888_TIMER_MODE_MAX_TIMER */
			timer_mode = <1>;
		/* MAX77888_LED_CTRL_BY_FLASHSTB */
			cntrl_mode = <0>;
		/* Max77888 : 19.53mA+0x32*19.53 = 996.03 mA */
			brightness = <0x32>;
		};
		leds2 {
			ledname = "torch-sec1";
		/* MAX77888_TORCH_LED_1 */
			id = <1>;
		/* MAX77888_LED_CTRL_BY_FLASHSTB */
			cntrl_mode = <0>;
			brightness = <0x06>;
		};
	};

/*
	======================================
	LCD
	======================================
*/
	/*disp_driver {*/
	fimd_fb: fimd_fb {
		LCD18V-supply = <&ldo28_reg>;
		LCD30V-supply = <&ldo17_reg>;
		LCD16V-supply = <&ldo29_reg>;

		lcd_info = <&s6e3ha1>;
		gpios = <&gpd1 7 0xf>;

		pinctrl-names = "turnon_tes", "turnoff_tes";
		pinctrl-0 = <&disp_teson>;
		pinctrl-1 = <&disp_tesoff>;

		fimd: fimd_ctrl {
			samsung,left_margin = <1>;
			samsung,right_margin = <1>;
			samsung,upper_margin = <15>;
			samsung,lower_margin = <1>;
			samsung,hsync_len = <1>;
			samsung,vsync_len = <1>;
			samsung,xres = <1600>;
			samsung,yres = <2560>;
			samsung,virtual_x = <1600>;
			samsung,virtual_y = <2560>;
			samsung,width = <227>;
			samsung,height = <142>;
			samsung,max_bpp = <32>;
			samsung,default_bpp = <24>;

			fb_driver_data {
				fb_win_variant_0 {
					has_osd_c = <1>;
					has_osd_d = <0>;
					has_osd_alpha = <0>;
					osd_size_off = <0x08>;
					palette_size = <256>;
					VALID_BPP_1248 = <1>;
					VALID_BPP_13 = <1>;
					VALID_BPP_15 = <1>;
					VALID_BPP_16 = <1>;
					VALID_BPP_18 = <1>;
					VALID_BPP_19 = <1>;
					VALID_BPP_24 = <1>;
					VALID_BPP_25 = <1>;
					VALID_BPP_32 = <1>;
				};
				fb_win_variant_1 {
					has_osd_c = <1>;
					has_osd_d = <1>;
					has_osd_alpha = <1>;
					osd_size_off = <0x0c>;
					palette_size = <256>;
					VALID_BPP_1248 = <1>;
					VALID_BPP_13 = <1>;
					VALID_BPP_15 = <1>;
					VALID_BPP_16 = <1>;
					VALID_BPP_18 = <1>;
					VALID_BPP_19 = <1>;
					VALID_BPP_24 = <1>;
					VALID_BPP_25 = <1>;
					VALID_BPP_32 = <1>;
				};
				fb_win_variant_2 {
					has_osd_c = <1>;
					has_osd_d = <1>;
					has_osd_alpha = <1>;
					osd_size_off = <0x0c>;
					palette_size = <256>;
					VALID_BPP_1248 = <1>;
					VALID_BPP_13 = <1>;
					VALID_BPP_15 = <1>;
					VALID_BPP_16 = <1>;
					VALID_BPP_18 = <1>;
					VALID_BPP_19 = <1>;
					VALID_BPP_24 = <1>;
					VALID_BPP_25 = <1>;
					VALID_BPP_32 = <1>;
				};
				fb_win_variant_3 {
					has_osd_c = <1>;
					has_osd_d = <0>;
					has_osd_alpha = <1>;
					osd_size_off = <0x0>;
					palette_size = <256>;
					VALID_BPP_1248 = <1>;
					VALID_BPP_13 = <1>;
					VALID_BPP_15 = <1>;
					VALID_BPP_16 = <1>;
					VALID_BPP_18 = <1>;
					VALID_BPP_19 = <1>;
					VALID_BPP_24 = <1>;
					VALID_BPP_25 = <1>;
					VALID_BPP_32 = <1>;
				};
				fb_win_variant_4 {
					has_osd_c = <1>;
					has_osd_d = <0>;
					has_osd_alpha = <1>;
					osd_size_off = <0x0>;
					palette_size = <256>;
					VALID_BPP_1248 = <1>;
					VALID_BPP_13 = <1>;
					VALID_BPP_15 = <1>;
					VALID_BPP_16 = <1>;
					VALID_BPP_18 = <1>;
					VALID_BPP_19 = <1>;
					VALID_BPP_24 = <1>;
					VALID_BPP_25 = <1>;
					VALID_BPP_32 = <1>;
				};
			};
		};
		mipi_dsi: mipi_dsi {
			gpios = <&gpg1 2 0x1>, <&gpy3 2 0x1>, <&gpy3 2 0x1>; /* resx , mipi_1.8v_en  */

			interrupt-parent = <&gic>;
			interrupts = <0 82 0>;
			/* Interface definition: 0 - DSIM_COMMAND,
						 1 - DSIM_VIDEO */
			e_interface = <0>;

			/* Pixel format : 0 - DSIM_CMD_3BPP,
					  1 - DSIM_CMD_8BPP,
					  2 - DSIM_CMD_12BPP,
					  3 - DSIM_CMD_16BPP,
					  4 - DSIM_VID_16BPP_565,
					  5 - DSIM_VID_18BPP_666PACKED,
					  6 - DSIM_18BPP_666LOOSELYPACKED,
					  7 - DSIM_24BPP_888 */
			e_pixel_format = <7>;

			/* main frame fifo auto flush at VSYNC pulse */
			auto_flush = <0>;
			eot_disable = <1>;
			auto_vertical_cnt = <0>;
			hse = <0>;
			hfp = <0>;
			hbp = <0>;
			hsa = <0>;

			/* num of data lane : 0 - DSIM_DATA_LANE_1,
					      1 - DSIM_DATA_LANE_2,
					      2 - DSIM_DATA_LANE_3,
					      3 - DSIM_DATA_LANE_4 */
			e_no_data_lane = <3>;
			/* byte clock divider : 0 - DSIM_PLL_OUT_DIV8,
						1 - DSIM_EXT_CLK_DIV8,
						2 - DSIM_EXT_CLK_BYPASS */
			e_byte_clk = <0>;
			/* Burst mode : 0 - DSIM_NON_BURST_SYNC_EVENT,
					2 - DSIM_NON_BURST_SYNC_PULSE,
					1 - DSIM_BURST
					4 - DSIM_NON_VIDEO_MODE */
			e_burst_mode = <1>;
			/* PMS
			   - 1. LCD_S6E8AA0 : p - 4, m - 80, s - 1
			   - 2. LCD_S6E3FA0(COMMAND): p - 2, m - 46, s - 0
			   - 3. LCD_S6E3FA0(VIDEO): p - 4, m - 75, s - 0
			   - 4. LCD_S6E3HA0(COMMAND): p - 2, m - 46, s - 0
			   - 5. LCD_S6E3FA2(COMMAND): p - 3, m - 56, s - 0 */
			p = <3>;
			m = <56>;
			s = <0>;
			/* D-PHY PLL stable time spec :min = 200usec ~ max 400usec */
			pll_stable_time = <23000>;
			/* escape clk : 16MHz */
			esc_clk = <16000000>;
			/* stop state holding counter after bta change count 0 ~ 0xfff */
			stop_holding_cnt = <10>;
			/* bta timeout 0 ~ 0xff */
			bta_timeout = <0xff>;
			/* lp rx timeout 0 ~ 0xffff */
			rx_timeout = <0xffff>;
		};
		s6e3ha1: s6e3ha1_wqhd {
			mode = <0>;
			resolution = <1600 2560>;
			size = <227 142>;
			timing,refresh = <60>;
			timing,h-porch = <1 1 1>;
			timing,v-porch = <15 1 1>;
			timing,dsi-hs-clk = <896>;
			timing,dsi-escape-clk = <19>;
			mic = <1>;
		};
		decon_mic: decon_mic {
			sysreg1 = <0x10050214>;
		};
	};

/*
	======================================
	Hall sensor
	======================================
*/
	hall {
		status = "okay";
		compatible = "hall";
		pinctrl-names = "default";
		pinctrl-0 = <&hall_irq>;
		hall,gpio_flip_cover = <&gpx0 1 0>;
		hall,gsm_wa = <1>;
	};

/*
	======================================
	VIbrator
	======================================
*/
	haptic {
		status = "okay";
		haptic,max_timeout = <10000>;
		/* can not be bigger than period */
		haptic,duty = <32047>;
		/* input freq : 233Hz */
		haptic,period = <33500>;
		haptic,reg2 = <0x82>;
		haptic,pwm_id = <1>;
		haptic,regulator_name = "vcc_3.0v_motor";
	};

/*
	======================================
	GPIO Keys
	======================================
*/
	gpio_keys {
		compatible = "gpio-keys";
		#address-cells = <1>;
		#size-cells = <0>;
		poll-interval = <100>;
		button@1 {
			label = "gpio-keys: KEY_POWER";
			interrupts = <2 0 0>;
			interrupt-parent = <&gpx2>;
			linux,code = <116>;
			gpios = <&gpx2 2 0xf>;
			gpio-key,wakeup = <1>;
		};
		button@2 {
			label = "gpio-keys: KEY_VOLUMEDOWN";
			interrupts = <3 0 0>;
			interrupt-parent = <&gpx0>;
			linux,code = <114>;
			gpios = <&gpx0 3 0xf>;
		};
		button@3 {
			label = "gpio-keys: KEY_VOLUMEUP";
			interrupts = <2 0 0>;
			interrupt-parent = <&gpx0>;
			linux,code = <115>;
			gpios = <&gpx0 2 0xf>;
		};
		button@4 {
			label = "gpio-keys: KEY_HOMEPAGE";
			interrupts = <5 0 0>;
			interrupt-parent = <&gpx0>;
			linux,code = <172>;
			gpios = <&gpx0 5 0xf>;
			gpio-key,wakeup = <1>;
		};
	};

	sec_input_debug-keys {
		compatible = "sec_input_debug-keys";

		button@1 {
			label = "debug-keys: KEY_POWER";
			linux,code = <116>;
		};
		button@2 {
			label = "debug-keys: KEY_VOLUMEDOWN";
			linux,code = <114>;
			state = "true";
		};
		button@3 {
			label = "debug-keys: KEY_VOLUMEUP";
			linux,code = <115>;
		};
	};

/*
	======================================
	BT & WIFI
	======================================
*/
	pinctrl@13400000 {
		cfg_wlanen: cfg-wlanen {
			samsung,pins = "gpy7-7";
			samsung,pin-function = <1>;
			samsung,pin-pud = <0>;
			samsung,pin-drv = <3>;
			samsung,pin-con-pdn = <3>;
			samsung,pin-pud-pdn = <0>;
		};

		cfg_wlanhostwake: cfg-wlanhostwake {
			samsung,pins = "gpx2-0";
			samsung,pin-function = <0>;
			samsung,pin-pud = <1>;
			samsung,pin-con-pdn = <2>;
			samsung,pin-pud-pdn = <0>;
		};
	};

	wlan {
		compatible = "samsung,brcm-wlan";
		gpios = <&gpy7 7 0x1 /* WLAN_EN */
				&gpx2 0 0xF	/* WLAN_HOST_WAKE */
				>;
		pinctrl-names = "default";
		pinctrl-0=<&cfg_wlanen &cfg_wlanhostwake>;
		status = "okay";
	};

	pinctrl@14000000 {
		cfg_en: cfg-en {
			samsung,pins ="gpg0-7";
			samsung,pin-function = <1>;
			samsung,pin-pud = <1>;
			samsung,pin-con-pdn = <3>;
			samsung,pin-pud-pdn = <1>;
		};

		magnetic_rst: magnetic-rst {
			samsung,pins = "gpg2-0";
			samsung,pin-function = <1>;
			samsung,pin-pud = <0>;
			samsung,pin-drv = <0>;
		};
	};

	pinctrl@13400000 {
		cfg_hostwake: cfg-hostwake {
			samsung,pins = "gpx2-1";
			samsung,pin-function = <0>;
			samsung,pin-pud = <0>;
			samsung,pin-con-pdn = <2>;
			samsung,pin-pud-pdn = <0>;
		};

		cfg_btwake: cfg-btwake {
			samsung,pins = "gpx3-2";
			samsung,pin-function = <1>;
			samsung,pin-pud = <1>;
			samsung,pin-con-pdn = <0>;
			samsung,pin-pud-pdn = <1>;
		};
	};

	bluetooth {
		compatible = "broadcom,bcm4354";

		gpios = <&gpg0 7 0	/*BT_EN*/
				&gpx3 2 0	/*BT_WAKE*/
				&gpx2 1 0xF	/*BT_HOST_WAKE*/ >;

		pinctrl-names = "default";
		pinctrl-0=<&cfg_hostwake &cfg_btwake &cfg_en>;
		status = "okay";
	};

/*
	======================================
	GPS
	======================================
*/
	gps {
		compatible = "samsung,exynos54xx-bcm4753";
		gpios = <&gpc1 2 0x1   /* GPS_EN */
             &gpx1 0 0xf   /* GPS_INT */
			>;
		status = "okay";
	};
/*
	======================================
	USB
	======================================
*/
	usb@12000000 {
		status = "okay";
		/* using gpio (1:use, 0:not use) */
		is_gpio = <0>;

		dwc3 {
			maximum-speed = "high-speed";
			dr_mode = "otg";
		};
	};

	usb@12400000 {
		status = "okay";
		/* using gpio (1:use, 0:not use) */
		is_gpio = <0>;

		dwc3 {
			maximum-speed = "high-speed";
			dr_mode = "otg";
		};
	};

	usb@12110000 {
		/* using gpio (1:use, 0:not use) */
		is_gpio = <0>;
	};

	usb_notifier {
                compatible = "samsung,usb-notifier";
        };

/*
	======================================
	Audio
	======================================
*/
	i2s0: i2s@03830000 {
		status = "okay";
	};

	i2s_dummy: dummy-i2s {
		compatible = "samsung,dummy-i2s";
		status = "okay";
	};

	sound {
		compatible = "samsung,pacific-arizona";
		samsung,audio-cpu = <&i2s0		/* primary */
				     &i2s_dummy
				     &i2s_dummy
				     &i2s0>;		/* secondary */
		samsung,audio-codec = <&audio_codec
				       &audio_codec
				       &audio_codec
				       &audio_codec
				       &audio_codec
				       &audio_codec>;

		clocks = <&clock 4200>;
		clock-names = "mclk";

		status = "okay";
	};

	spi_2: spi@12d40000 {
		#address-cells = <1>;
		#size-cells = <0>;
		pinctrl-names = "default";
		pinctrl-0 = <&spi2_bus>;

		audio_codec: wm5102@0 {
			compatible = "wlf,wm5102";
			reg = <0x0>;
			spi-max-frequency = <20000000>;
			interrupts = <5 0 0>;
			interrupt-parent = <&gpx2>;

			gpio-controller;
			#gpio-cells = <2>;

			pinctrl-names ="default";
			pinctrl-0 = <&codec_reset &codec_ldoena>;

			wlf,reset = <&gpg0 6 0>;
			wlf,ldoena = <&gpg0 1 0>;
			wlf,init-mic-delay = <30>;
			wlf,micd-detect-debounce = <300>;
			wlf,micd-bias-start-time = <0x1>;
			wlf,micd-rate = <0x7>;
			wlf,micd-dbtime = <0x1>;
			wlf,micd-timeout = <1000>;
			wlf,micd-force-micbias;
			wlf,micd-ranges = <
				139 226
				295 115
				752 114
				1257 217
			>;

			wlf,micd-configs = <
				0x0 1 0
			>;

			wlf,micbias1 = <2600 0 1 0 0>;
			wlf,micbias2 = <2600 0 1 0 0>;
			wlf,micbias3 = <2600 0 1 0 0>;

			wlf,gpio-defaults = <
				0xA101
				0xA101
				0xA101
				0xA101
				0x8101
			>;

			wlf,gpsw = <0x3>;
			wlf,micd-open-circuit-declare = <1>;

			wlf,max-channels-clocked = <2 0 0>;
			/* 0:MICVDD 1:MICBIAS1 2:MICBIAS2 3:MICBIAS3 */
			wlf,dmic-ref = <0 0 0 0>;
			/* 1st cell:IN1 2rd cell:IN2 3nd cell:IN3 4th cell:IN4 */
			wlf,inmode = <0 0 0 0>;
			/* 1st cell:OUT1 2nd cell:OUT2 3rd cell:OUT3... 6th cell:OUT6 */
			wlf,out-mono = <0 0 1 0 0 0>;

			AVDD-supply = <&ldo2_reg>;
			LDOVDD-supply = <&ldo2_reg>;
			DBVDD1-supply = <&ldo2_reg>;

			CPVDD-supply = <&ldo2_reg>;
			DBVDD2-supply = <&ldo2_reg>;
			DBVDD3-supply = <&ldo2_reg>;
			SPKVDDL-supply = <&ldo2_reg>;
			SPKVDDR-supply = <&ldo2_reg>;

			adsps {
				#address-cells = <1>;
				#size-cells = <0>;

				adsp@1100 {
					reg = <0x1100>;
					firmware {
						EDAC {
							wlf,wmfw-file = "edac";
							wlf,bin-file = "edac";
						};
						TRACE {
							wlf,wmfw-file = "trace";
							wlf,compr-caps = <1 8 0x4 1 8000 16000 24000>;
						};
					};
				};
				adsp@1200 {
					reg = <0x1200>;
					firmware {
						TX_NB {
							wlf,wmfw-file = "tx-nb";
						};
						TX_WB {
							wlf,wmfw-file = "tx-wb";
						};
						TX_SWB_INTERVIEW {
							wlf,wmfw-file = "tx-swb";
						};
						TX_SWB_CONVERSATION {
							wlf,wmfw-file = "tx-swb";
						};
					};
				};
				adsp@1300 {
					reg = <0x1300>;
					firmware {
						TX_NB {
							wlf,wmfw-file = "tx-nb";
							wlf,bin-file = "tx-nb";
						};
						TX_WB {
							wlf,wmfw-file = "tx-wb";
							wlf,bin-file = "tx-wb";
						};
						TX_SWB_INTERVIEW {
							wlf,wmfw-file = "tx-swb";
							wlf,bin-file = "tx-swb-interview";
						};
						TX_SWB_CONVERSATION {
							wlf,wmfw-file = "tx-swb";
							wlf,bin-file = "tx-swb-conversation";
						};
						VOICECONTROL {
							wlf,wmfw-file = "ez2-control";
							wlf,bin-file = "ez2-control";
						};
						LPSD {
							wlf,wmfw-file = "ez2-control";
							wlf,bin-file = "lpsd-control";
						};
					};
				};
				adsp@1400 {
					reg = <0x1400>;
					firmware {
						RX_NB {
							wlf,wmfw-file = "rx-anc-nb";
							wlf,bin-file = "rx-anc-nb";
						};
						RX_WB {
							wlf,wmfw-file = "rx-anc-wb";
							wlf,bin-file = "rx-anc-wb";
						};
					};
				};
			};
			controller-data {
				cs-gpio = <&gpb1 2 0>;
				samsung,spi-feedback-delay = <0>;
			};
		};
	};
	audio_pdata {
		compatible = "samsung,audio-pdata";

		sub_mic_bias_gpio = <&gpx3 6 0>;
		status = "okay";
	};
	pinctrl@14000000 {
		codec_reset: codec-reset {		/* codec_reset */
			samsung,pins ="gpg0-6";
			samsung,pin-function = <1>;
			samsung,pin-pud = <1>;
			samsung,pin-con-pdn =<3>;
			samsung,pin-pud-pdn = <1>;
		};
		codec_ldoena: codec-ldoena {	/* codec_ldo_en */
			samsung,pins ="gpg0-1";
			samsung,pin-con-pdn =<3>;
		};
	};
/*
	======================================
	Thermister
	======================================
*/
	sec_thermistor {
		compatible = "samsung,sec-ap-thermistor";
		status = "okay";

		adc_array = <120 126 132 138 144 150 156 162 168 175 181 189 197 205 213 221 229 237 245 253
				  261 269 277 286 297 309 318 329 340 350 361 370 380 393 405 418 431 446 460 473
				  489 503 520 536 552 569 586 604 622 640 659 679 698 718 739 759 781 803 824 847
				  869 891 914 938 959 982 1005 1030 1052 1076 1099 1126 1145 1168 1193 1215 1239 1263 1286 1309
				  1333 1354 1377 1397 1418 1439 1459 1483 1497 1518 1537 1557 1577 1593 1611 1628 1645 1661 1678
				  1693 1704 1718 1732 1745 1757 1770 1781 1794 1805 1815 1827>;

		temp_array = <900 890 880 870 860 850 840 830 820 810 800 790 780 770 760 750 740 730 720 710
				  700 690 680 670 660 650 640 630 620 610 600 590 580 570 560 550 540 530 520 510
				  500 490 480 470 460 450 440 430 420 410 400 390 380 370 360 350 340 330 320 310
				  300 290 280 270 260 250 240 230 220 210 200 190 180 170 160 150 140 130 120 110
				  100 90 80 70 60 50 40 30 20 10 0 (-10) (-20) (-30) (-40) (-50) (-60) (-70) (-80)
				  (-90) (-100) (-110) (-120) (-130) (-140) (-150) (-160) (-170) (-180) (-190) (-200)>;

		io-channels = <&exynos_adc 0>;
		io-channel-names = "adc-ap-temp";
		io-channel-ranges;
	};
/*
	======================================
	GPIO-DVS
	======================================
*/
	secgpio_dvs {
		compatible = "samsung,exynos5422-secgpio-dvs";
		status = "okay";
	};

/*
	======================================
	ION
	======================================
*/
	ion {
		compatible = "samsung,exynos5430-ion";

		contig-names = "common",
			       "video_ext",
			       "mfc_sh",
			       "g2d_wfd",
			       "video",
			       "sectbl",
			       "mfc_fw",
			       "mfc_nfw",
			       "secdma";

		contig = <0 0x400000 0x0>,
		         <1 0x600000 0x0>,
		         <2 0x100000 0x0>,
		         <10 0x800000 0x0>,
		         <11 0xA800000 0x0>,
		         <9 0x100000 0x0>,
		         <8 0x200000 0x0>,
		         <12 0x200000 0x0>,
		         <13 0x20000 0x0>;

		contig-isolate_on_boot = <0>, <1>, <2>, <8>,
					  <9>, <10>, <11>, <12>, <13>;

		secure = <11>, <9>, <8>, <1>;

		ion_noncontig_heap {
			id-type = <0 0>;
		};

		exynos_contig_heap {
			id-type = <4 6>;
		};
	};

	ipa_pdata {
		compatible = "samsung,exynos-ipa";

		control_temp = <50>;
		temp_threshold = <10>;
		enabled = <1>;
		tdp = <3500>;
		boost = <1>;
		ros_power = <500>;
		a7_weight = <1024>;
		a15_weight = <256>;
		gpu_weight = <256>;
		a7_max_power = <1000>;
		a15_max_power = <6552>;
		gpu_max_power = <3110>;
		hotplug_out_threshold = <10>;
		hotplug_in_threshold = <0>;
		enable_ctlr = <1>;
		ctlr.mult = <2>;
		ctlr.k_i = <1>;
		ctlr.k_d = <0>;
		ctlr.feed_forward = <1>;
		ctlr.integral_reset_value = <0>;
		ctlr.integral_cutoff = <0>;
		ctlr.integral_reset_threshold = <5>;
	};
};
